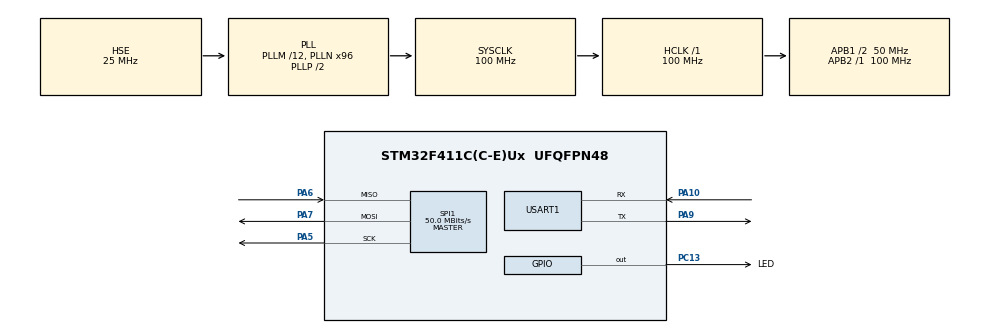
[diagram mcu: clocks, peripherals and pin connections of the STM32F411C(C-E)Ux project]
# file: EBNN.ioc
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ADC1.Channel-0\#ChannelRegularConversion=ADC_CHANNEL_TEMPSENSOR
ADC1.NbrOfConversionFlag=1
ADC1.Rank-0\#ChannelRegularConversion=1
ADC1.SamplingTime-0\#ChannelRegularConversion=ADC_SAMPLETIME_3CYCLES
ADC1.master=1
Mcu.Family=STM32F4
Mcu.Name=STM32F411C(C-E)Ux
Mcu.Package=UFQFPN48
NVIC.PriorityGroup=NVIC_PRIORITYGROUP_4
NVIC.USART1_IRQn=true\:6\:0\:true\:false\:true\:true\:true\:true
PA10.Mode=Asynchronous
PA10.Signal=USART1_RX
PA13.Mode=Trace_Asynchronous_SW
PA13.Signal=SYS_JTMS-SWDIO
PA14.Mode=Trace_Asynchronous_SW
PA14.Signal=SYS_JTCK-SWCLK
PA5.Mode=Full_Duplex_Master
PA5.Signal=SPI1_SCK
PA6.Mode=Full_Duplex_Master
PA6.Signal=SPI1_MISO
PA7.Mode=Full_Duplex_Master
PA7.Signal=SPI1_MOSI
PA9.Mode=Asynchronous
PA9.Signal=USART1_TX
PB3.Mode=Trace_Asynchronous_SW
PB3.Signal=SYS_JTDO-SWO
PC13-ANTI_TAMP.GPIO_Label=LED
PC13-ANTI_TAMP.Signal=GPIO_Output
PH0\ -\ OSC_IN.Mode=HSE-External-Oscillator
PH0\ -\ OSC_IN.Signal=RCC_OSC_IN
PH1\ -\ OSC_OUT.Mode=HSE-External-Oscillator
PH1\ -\ OSC_OUT.Signal=RCC_OSC_OUT
ProjectManager.HeapSize=0x200
ProjectManager.StackSize=0x400
ProjectManager.TargetToolchain=MDK-ARM V5.32
RCC.48MHZClocksFreq_Value=50000000
RCC.AHBFreq_Value=100000000
RCC.APB1CLKDivider=RCC_HCLK_DIV2
RCC.APB1Freq_Value=50000000
RCC.APB1TimFreq_Value=100000000
RCC.APB2Freq_Value=100000000
RCC.APB2TimFreq_Value=100000000
RCC.CortexFreq_Value=100000000
RCC.HCLKFreq_Value=100000000
RCC.HSE_VALUE=25000000
RCC.HSI_VALUE=16000000
RCC.LSE_VALUE=32768
RCC.PLLM=12
RCC.PLLN=96
RCC.PLLSourceVirtual=RCC_PLLSOURCE_HSE
RCC.SYSCLKFreq_VALUE=100000000
RCC.SYSCLKSource=RCC_SYSCLKSOURCE_PLLCLK
RCC.VCOOutputFreq_Value=200000000
SPI1.CalculateBaudRate=50.0 MBits/s
SPI1.Direction=SPI_DIRECTION_2LINES
SPI1.Mode=SPI_MODE_MASTER
SPI1.VirtualType=VM_MASTER
STMicroelectronics.X-CUBE-ALGOBUILD.1.3.0.LibraryCcDSPOoLibraryJjDSPOoLibrary=true
USART1.VirtualMode=VM_ASYNC
VP_ADC1_TempSens_Input.Mode=IN-TempSens
VP_ADC1_Vref_Input.Mode=IN-Vrefint
VP_STMicroelectronics.X-CUBE-ALGOBUILD_VS_DSPOoLibraryJjLibrary_1.3.0_1.3.0.Mode=DSPOoLibraryJjLibrary
board=custom

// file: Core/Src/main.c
/* USER CODE BEGIN Header */
/**
  ******************************************************************************
  * @file           : main.c
  * @brief          : Main program body
  ******************************************************************************
  * @attention
  *
  * Copyright (c) 2024 STMicroelectronics.
  * All rights reserved.
  *
  * This software is licensed under terms that can be found in the LICENSE file
  * in the root directory of this software component.
  * If no LICENSE file comes with this software, it is provided AS-IS.
  *
  ******************************************************************************
  */
/* USER CODE END Header */
#include "main.h"
#include "adc.h"
#include "spi.h"
#include "usart.h"
#include "gpio.h"

/* USER CODE BEGIN Includes */
#include <stdint.h>
#include <stdio.h>
#include "stm32f4xx.h"

#include "mlp_ebnn.h"
#include "mlp_ebnn_mnist_data.h"
#include "mlp_ebnn_data.h"

#include "arm_math.h"
#include "bsp_adc.h"
/* USER CODE END Includes */

void SystemClock_Config(void);

/* USER CODE BEGIN 0 */
#define REDIRECT2SWV
#define PUTCHAR_PROTOTYPE __attribute__((weak)) int fputc(int ch, FILE *f)

#ifdef REDIRECT2SWV
#define ITM_Port8(n)    (*((volatile unsigned char *)(0xE0000000+4*n)))
#define ITM_Port32(n)   (*((volatile unsigned long *)(0xE0000000+4*n)))

PUTCHAR_PROTOTYPE
{
	while (ITM_Port32(0) == 0);
	ITM_Port8(0) = ch;
    return (ch);
}
#else
PUTCHAR_PROTOTYPE
{
//	HAL_UART_Transmit_IT(&huart1, (uint8_t *)&ch, 1);
    HAL_UART_Transmit(&huart1, (uint8_t *)&ch, 1, 0xFFFF);
	return (ch);
}
#endif

volatile uint32_t executionTime, startTime;
volatile float executionAveTime;
float temprate;

// 输入数据
const int batch_size = 20;
const int input_dim = 784;
const int output_dim = 10;

// 中间层输出
int fc_output[batch_size * output_dim];
float bn_output[batch_size * output_dim];
float softmax_output[batch_size * output_dim];
int max_softmax_output[batch_size];
/* USER CODE END 0 */

int main(void)
{

  /* MCU Configuration--------------------------------------------------------*/

  /* Reset of all peripherals, Initializes the Flash interface and the Systick. */
  HAL_Init();

  /* Configure the system clock */
  SystemClock_Config();

  /* Initialize all configured peripherals */
  MX_GPIO_Init();
  MX_USART1_UART_Init();
  MX_ADC1_Init();
  MX_SPI1_Init();
  /* USER CODE BEGIN 2 */
  HAL_Delay(100);	// Wait for all peripherals to power up.
//	ADC_vrefint_init();

  printf("SystemCoreClock: %d\n", SystemCoreClock);
  /* USER CODE END 2 */

  /* Infinite loop */
  /* USER CODE BEGIN WHILE */
    while (1)
    {
        /*
            计算时间
        */
        startTime = HAL_GetTick();		// Timing, use SysTick. Also an option to use DWT/DMY.
        // 全连接层推理
        binary_bitwise_fully_connected_inference_uint8(test_data, batch_size, input_dim, output_dim, binarize_fc1_w, binarize_fc1_b, fc_output);

        // 批量归一化推理
        // batch_normalization_inference(fc_output, batch_size, output_dim, binarize_fc1_bn_gamma, binarize_fc1_bn_beta, binarize_fc1_bn_mean, binarize_fc1_bn_var, 1e-5, bn_output);
        batch_normalization_inference_std_int(fc_output, batch_size, output_dim, binarize_fc1_bn_gamma, binarize_fc1_bn_beta, binarize_fc1_bn_mean, binarize_fc1_bn_std, bn_output);

        // Softmax 推理
        softmax_inference(bn_output, batch_size, output_dim, softmax_output);
        // 最大概率索引
        max_softmax_inference(softmax_output, batch_size, output_dim, max_softmax_output);
        /*
            计算时间
        */
        executionTime = HAL_GetTick() - startTime;
        executionAveTime = executionTime / 20.0f;
        // 打印预测结果
        int16_t correct_predictions = 0;
        printf("Model Predictions vs Actual Labels:\n");
        for (int i = 0; i < batch_size; i++) {
            printf("Sample %2d: Predicted = %d, Actual = %d", i, max_softmax_output[i], test_labels[i]);
            if (max_softmax_output[i] == test_labels[i]) {
                printf(" (Correct)\n");
                correct_predictions++;
            } else {
                printf(" (Incorrect)\n");
            }
        }
        // 计算并输出准确率
        float accuracy = (float)correct_predictions / batch_size * 100.0f;
        printf("\nCorrect: %d; Incorrect: %d; Total: %d\n", correct_predictions, batch_size - correct_predictions, batch_size);
        printf("Accuracy: %.2f%%\n", accuracy);

        printf("Usage time: %d ms\n", executionTime);
        printf("Usage Ave time: %d ms\n", (int)(executionAveTime));

        HAL_GPIO_TogglePin(LED_GPIO_Port, LED_Pin);

//		temprate = ADC_get_STM32Temprate();
//		printf("MCU temperature: %d\n", (int)(temprate * 100));
    /* USER CODE END WHILE */

  }
}

void SystemClock_Config(void)
{
  RCC_OscInitTypeDef RCC_OscInitStruct = {0};
  RCC_ClkInitTypeDef RCC_ClkInitStruct = {0};

  /** Configure the main internal regulator output voltage
  */
  __HAL_RCC_PWR_CLK_ENABLE();
  __HAL_PWR_VOLTAGESCALING_CONFIG(PWR_REGULATOR_VOLTAGE_SCALE1);

  /** Initializes the RCC Oscillators according to the specified parameters
  * in the RCC_OscInitTypeDef structure.
  */
  RCC_OscInitStruct.OscillatorType = RCC_OSCILLATORTYPE_HSE;
  RCC_OscInitStruct.HSEState = RCC_HSE_ON;
  RCC_OscInitStruct.PLL.PLLState = RCC_PLL_ON;
  RCC_OscInitStruct.PLL.PLLSource = RCC_PLLSOURCE_HSE;
  RCC_OscInitStruct.PLL.PLLM = 12;
  RCC_OscInitStruct.PLL.PLLN = 96;
  RCC_OscInitStruct.PLL.PLLP = RCC_PLLP_DIV2;
  RCC_OscInitStruct.PLL.PLLQ = 4;
  if (HAL_RCC_OscConfig(&RCC_OscInitStruct) != HAL_OK)
  {
    Error_Handler();
  }

  /** Initializes the CPU, AHB and APB buses clocks
  */
  RCC_ClkInitStruct.ClockType = RCC_CLOCKTYPE_HCLK|RCC_CLOCKTYPE_SYSCLK
                              |RCC_CLOCKTYPE_PCLK1|RCC_CLOCKTYPE_PCLK2;
  RCC_ClkInitStruct.SYSCLKSource = RCC_SYSCLKSOURCE_PLLCLK;
  RCC_ClkInitStruct.AHBCLKDivider = RCC_SYSCLK_DIV1;
  RCC_ClkInitStruct.APB1CLKDivider = RCC_HCLK_DIV2;
  RCC_ClkInitStruct.APB2CLKDivider = RCC_HCLK_DIV1;

  if (HAL_RCC_ClockConfig(&RCC_ClkInitStruct, FLASH_LATENCY_3) != HAL_OK)
  {
    Error_Handler();
  }
}

void Error_Handler(void)
{
  __disable_irq();
  while (1)
  {
  }
}
